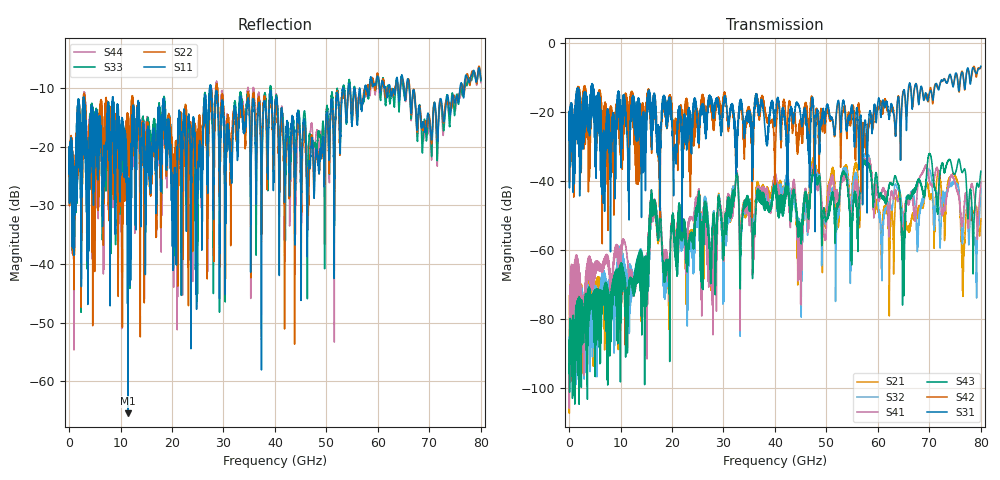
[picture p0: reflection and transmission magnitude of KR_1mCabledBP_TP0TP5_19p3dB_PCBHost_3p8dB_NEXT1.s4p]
!! Reference: shanbhag_3dj_02_2305.pdf
!! CHANNEL DESCRIPTION: TP0_TP5 KR Channel using 1meter Cabled BP, PCB Host
!! CABLE DESCRIPTION: 1meter 26AWG Cable
!! MODEL STATUS: Developmental
!! PORT DEFINITIONS:
!! Port  1  ----->  Side A  Side B  <-----  Port  2
!! Port  3  ----->  Side A  Side B  <-----  Port  4
# HZ S MA R 50.000000
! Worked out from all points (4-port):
!   8000 points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, 10 MHz to 80 GHz, reference 50 ohm
!   strongest paths, dB at 10 MHz, 20.01 GHz, 40.01 GHz, 60.01 GHz, 80 GHz:
!     S31: -28.2, -22.7, -23.9, -16.9, -6.8
!     S42: -28.3, -20.4, -34.9, -19.2, -7.1
!     S43: -95.7, -53.9, -40.9, -42.1, -37.2
!     S41: -88.7, -52.9, -38.7, -44.1, -40.3
!     S32: -104.8, -54.5, -41.3, -45.4, -42.2
!     S21: -90.2, -54.0, -39.8, -48.7, -50.9
!   lowest |S11| = -65.5 dB at 11.42 GHz (marker M1), VSWR 1.00, Z = 50 - j0.0532 ohm
!   |S11| at or under -10 dB: start of sweep to 27.38 GHz; 27.59 GHz to 53.16 GHz (25.58 GHz wide, 63.4 % of centre); 66.13 GHz to 75.94 GHz (9.812 GHz wide, 13.8 % of centre)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
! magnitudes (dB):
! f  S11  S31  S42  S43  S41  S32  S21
! 10 MHz  -24.6  -28.2  -28.3  -95.7  -88.7  -104.8  -90.2
! 11.42 GHz  -65.5  -34.2  -18.3  -78.9  -63.7  -73.6  -75.7
! 16.28 GHz  -19.7  -17.2  -16.9  -46.5  -46.6  -47.6  -46.6
! 19.18 GHz  -18.8  -21.6  -18.8  -63.5  -67.9  -68.4  -69.6
! 44.8 GHz  -17.2  -18.9  -22.6  -55.1  -65.0  -54.6  -57.9
! 47.51 GHz  -25.3  -19.3  -26.9  -36.4  -34.9  -34.9  -33.1
! 80 GHz  -8.6  -6.8  -7.1  -37.2  -40.3  -42.2  -50.9
